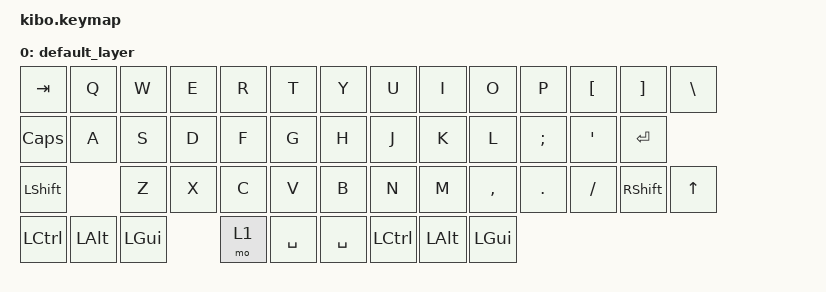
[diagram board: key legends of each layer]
/*
 * Copyright (c) 2021 Nick Winans
 *
 * SPDX-License-Identifier: MIT
 */

#include <behaviors.dtsi>
#include <dt-bindings/zmk/keys.h>
#include <dt-bindings/zmk/rgb.h>
#include <dt-bindings/zmk/bt.h>
#include <dt-bindings/zmk/outputs.h>
#include <dt-bindings/zmk/ext_power.h>

/ {
  keymap {
    compatible = "zmk,keymap";
    
    default_layer {
      bindings = <
        &kp TAB    &kp Q    &kp W    &kp E    &kp R    &kp T    &kp Y    &kp U    &kp I      &kp O        &kp P     &kp LBKT   &kp RBKT   &kp BSLH
        &kp CLCK   &kp A    &kp S    &kp D    &kp F    &kp G    &kp H    &kp J    &kp K      &kp L        &kp SEMI  &kp SQT    &kp RET                    
        &kp LSHFT           &kp Z    &kp X    &kp C    &kp V    &kp B    &kp N    &kp M     &kp COMMA     &kp DOT   &kp FSLH   &kp RSHFT  &kp UP    
        &kp LCTRL  &kp LALT &kp LGUI      &mo 1  &kp SPACE &kp SPACE       &kp LCTRL  &kp LALT &kp LGUI
      >;
    };
  };
};
